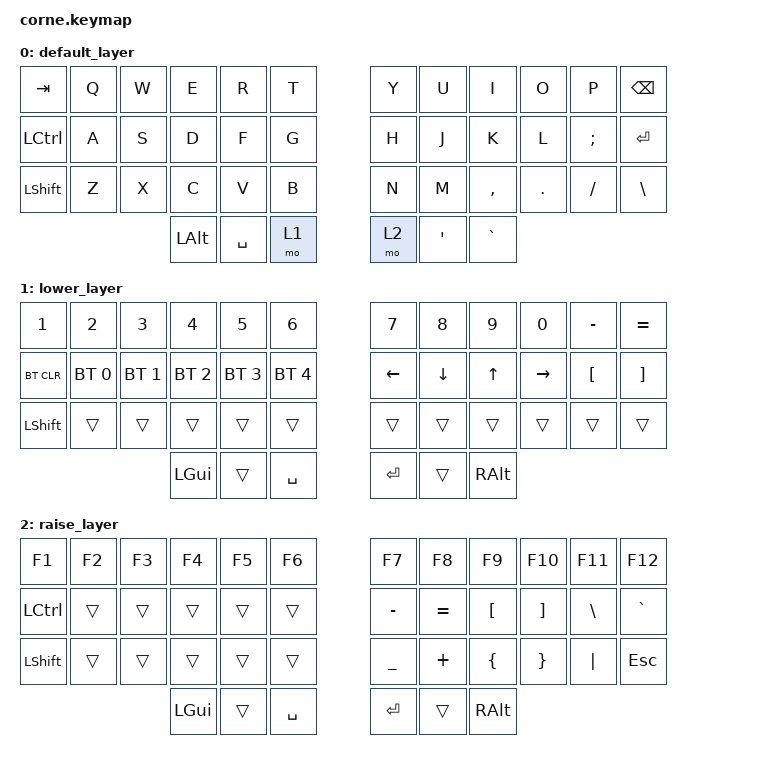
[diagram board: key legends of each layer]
/*
 * Copyright (c) 2020 The ZMK Contributors
 *
 * SPDX-License-Identifier: MIT
 */

#include <behaviors.dtsi>
#include <dt-bindings/zmk/bt.h>
#include <dt-bindings/zmk/keys.h>

/ {
    keymap {
        compatible = "zmk,keymap";

        default_layer {
            // -----------------------------------------------------------------------------------------
            // |  TAB |  Q  |  W  |  E  |  R  |  T  |   |  Y  |  U   |  I  |  O  |  P  | BKSP |
            // | CTRL |  A  |  S  |  D  |  F  |  G  |   |  H  |  J   |  K  |  L  |  ;  |  '   |
            // | SHFT |  Z  |  X  |  C  |  V  |  B  |   |  N  |  M   |  ,  |  .  |  /  | ESC  |
            //                    | GUI | LWR | SPC |   | ENT | RSE  | ALT |

            bindings = <
&kp TAB    &kp Q  &kp W  &kp E         &kp R      &kp T    &kp Y  &kp U             &kp I      &kp O    &kp P     &kp BACKSPACE
&kp LCTRL  &kp A  &kp S  &kp D         &kp F      &kp G    &kp H  &kp J             &kp K      &kp L    &kp SEMI  &kp ENTER
&kp LSHFT  &kp Z  &kp X  &kp C         &kp V      &kp B    &kp N  &kp M             &kp COMMA  &kp DOT  &kp FSLH  &kp BACKSLASH
                         &kp LEFT_ALT  &kp SPACE  &mo 1    &mo 2  &kp SINGLE_QUOTE  &kp GRAVE
            >;
        };

        lower_layer {
            // -----------------------------------------------------------------------------------------
            // |  TAB |  1  |  2  |  3  |  4  |  5  |   |  6  |  7  |  8  |  9  |  0  | BKSP |
            // | BTCLR| BT1 | BT2 | BT3 | BT4 | BT5 |   | LFT | DWN |  UP | RGT |     |      |
            // | SHFT |     |     |     |     |     |   |     |     |     |     |     |      |
            //                    | GUI |     | SPC |   | ENT |     | ALT |

            bindings = <
&kp NUMBER_1  &kp NUMBER_2  &kp NUMBER_3  &kp NUMBER_4  &kp NUMBER_5  &kp NUMBER_6    &kp NUMBER_7  &kp NUMBER_8  &kp NUMBER_9  &kp NUMBER_0  &kp MINUS         &kp EQUAL
&bt BT_CLR    &bt BT_SEL 0  &bt BT_SEL 1  &bt BT_SEL 2  &bt BT_SEL 3  &bt BT_SEL 4    &kp LEFT      &kp DOWN      &kp UP        &kp RIGHT     &kp LEFT_BRACKET  &kp RIGHT_BRACKET
&kp LSHFT     &trans        &trans        &trans        &trans        &trans          &trans        &trans        &trans        &trans        &trans            &trans
                                          &kp LGUI      &trans        &kp SPACE       &kp RET       &trans        &kp RALT
            >;
        };

        raise_layer {
            // -----------------------------------------------------------------------------------------
            // |  TAB |  !  |  @  |  #  |  $  |  %  |   |  ^  |  &  |  *  |  (  |  )  | BKSP |
            // | CTRL |     |     |     |     |     |   |  -  |  =  |  [  |  ]  |  \  |  `   |
            // | SHFT |     |     |     |     |     |   |  _  |  +  |  {  |  }  | "|" |  ~   |
            //                    | GUI |     | SPC |   | ENT |     | ALT |

            bindings = <
&kp F1     &kp F2  &kp F3  &kp F4    &kp F5  &kp F6       &kp F7     &kp F8     &kp F9    &kp F10   &kp F11   &kp F12
&kp LCTRL  &trans  &trans  &trans    &trans  &trans       &kp MINUS  &kp EQUAL  &kp LBKT  &kp RBKT  &kp BSLH  &kp GRAVE
&kp LSHFT  &trans  &trans  &trans    &trans  &trans       &kp UNDER  &kp PLUS   &kp LBRC  &kp RBRC  &kp PIPE  &kp ESCAPE
                           &kp LGUI  &trans  &kp SPACE    &kp RET    &trans     &kp RALT
            >;
        };
    };
};
